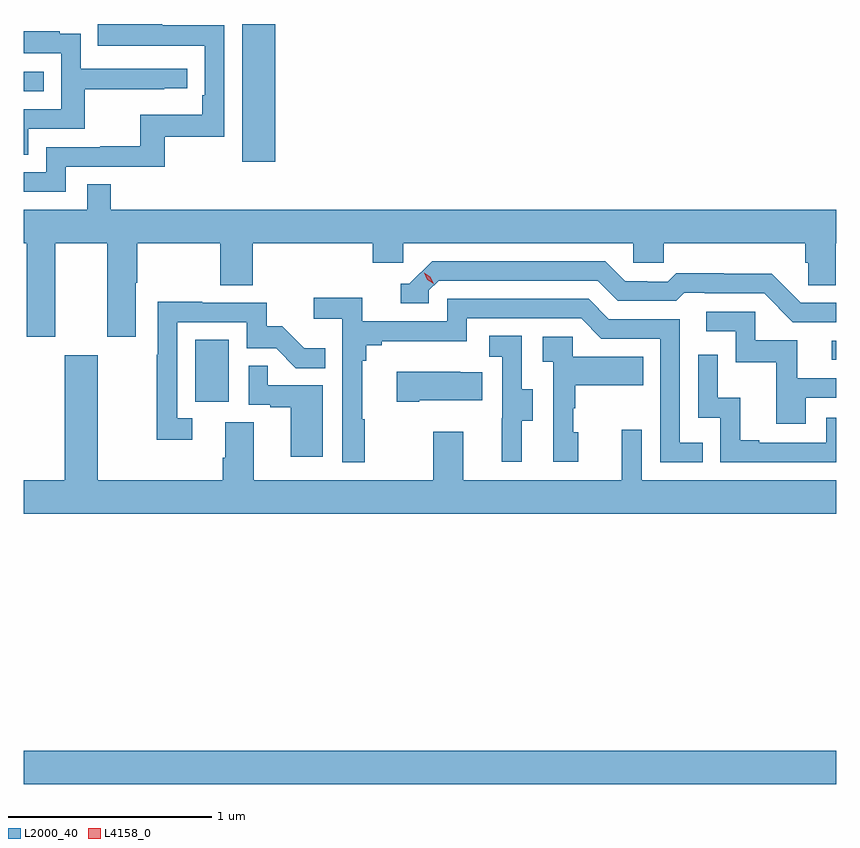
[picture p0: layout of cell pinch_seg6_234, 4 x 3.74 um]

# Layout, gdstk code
import gdstk
lib = gdstk.Library(unit=1e-6, precision=1e-09)
def R(c, l, rs):  # rectangles x0, y0, x1, y1
    for r in rs: c.add(gdstk.rectangle(r[:2], r[2:], *l))
def P(c, l, *ps):  # polygons
    for p in ps: c.add(gdstk.Polygon(p, *l))
L2000_40 = (2000, 40)
L4158_0 = (4158, 0)

pinch_seg6_234 = lib.new_cell('pinch_seg6_234')
R(pinch_seg6_234, L2000_40, [(1088.439,927.356,1092.439,927.52), (1089.284,929.238,1089.448,929.545), (1092.417,929.445,1092.439,929.538), (1089.515,930.42,1089.676,931.099), (1088.439,930.768,1088.537,930.864)])
P(pinch_seg6_234, L2000_40, [(1088.646,930.396),(1089.133,930.396),(1089.133,930.543),(1089.426,930.543),(1089.426,931.094),(1089.121,931.094),(1089.121,931.099),(1088.803,931.099),(1088.803,930.992),(1089.017,930.992),(1089.017,930.993),(1089.33,930.993),(1089.33,930.748),(1089.317,930.748),(1089.317,930.652),(1089.012,930.652),(1089.012,930.497),(1088.815,930.497),(1088.815,930.492),(1088.55,930.492),(1088.55,930.369),(1088.439,930.369),(1088.439,930.273),(1088.646,930.273)],
  [(1088.461,930.582),(1088.738,930.582),(1088.738,930.778),(1089.131,930.778),(1089.131,930.783),(1089.244,930.783),(1089.244,930.879),(1088.718,930.879),(1088.718,931.051),(1088.615,931.051),(1088.615,931.063),(1088.439,931.063),(1088.439,930.954),(1088.622,930.954),(1088.622,930.678),(1088.439,930.678),(1088.439,930.454),(1088.461,930.454)],
  [(1088.593,930.02),(1088.849,930.02),(1088.849,929.559),(1088.989,929.559),(1088.989,929.824),(1088.997,929.824),(1088.997,930.02),(1089.406,930.02),(1089.406,929.812),(1089.566,929.812),(1089.566,930.02),(1090.157,930.02),(1090.157,929.922),(1090.308,929.922),(1090.308,930.02),(1091.439,930.02),(1091.439,929.922),(1091.589,929.922),(1091.589,930.02),(1092.287,930.02),(1092.287,929.922),(1092.301,929.922),(1092.301,929.812),(1092.438,929.812),(1092.438,930.02),(1092.439,930.02),(1092.439,930.184),(1088.867,930.184),(1088.867,930.311),(1088.751,930.311),(1088.751,930.184),(1088.439,930.184),(1088.439,930.02),(1088.453,930.02),(1088.453,929.559),(1088.593,929.559)],
  [(1092.439,929.727),(1092.264,929.727),(1092.122,929.869),(1091.886,929.869),(1091.886,929.872),(1091.653,929.872),(1091.611,929.829),(1091.508,929.829),(1091.508,929.832),(1091.401,929.832),(1091.302,929.931),(1090.449,929.931),(1090.338,929.82),(1090.295,929.82),(1090.295,929.724),(1090.434,929.724),(1090.434,929.787),(1090.482,929.835),(1091.265,929.835),(1091.364,929.736),(1091.653,929.736),(1091.692,929.775),(1091.791,929.775),(1091.791,929.772),(1092.084,929.772),(1092.225,929.631),(1092.439,929.631)],
  [(1090.117,929.153),(1090.105,929.153),(1090.105,929.441),(1090.124,929.441),(1090.124,929.518),(1090.201,929.518),(1090.201,929.537),(1090.62,929.537),(1090.62,929.649),(1091.184,929.649),(1091.283,929.55),(1091.574,929.55),(1091.574,928.941),(1091.783,928.941),(1091.783,929.037),(1091.67,929.037),(1091.67,929.646),(1091.32,929.646),(1091.221,929.745),(1090.524,929.745),(1090.524,929.634),(1090.106,929.634),(1090.106,929.75),(1089.867,929.75),(1089.867,929.648),(1090.008,929.648),(1090.008,928.941),(1090.117,928.941)],
  [(1089.268,929.157),(1089.195,929.157),(1089.195,929.631),(1089.537,929.631),(1089.537,929.502),(1089.681,929.502),(1089.779,929.404),(1089.923,929.404),(1089.923,929.503),(1089.819,929.503),(1089.712,929.61),(1089.636,929.61),(1089.636,929.727),(1089.317,929.727),(1089.317,929.732),(1089.099,929.732),(1089.099,929.471),(1089.094,929.471),(1089.094,929.052),(1089.268,929.052)],
  [(1092.289,929.259),(1092.439,929.259),(1092.439,929.355),(1092.247,929.355),(1092.247,929.541),(1092.042,929.541),(1092.042,929.682),(1091.799,929.682),(1091.799,929.586),(1091.946,929.586),(1091.946,929.433),(1092.145,929.433),(1092.145,929.13),(1092.289,929.13)],
  [(1090.891,929.146),(1090.945,929.146),(1090.945,929.301),(1090.89,929.301),(1090.89,929.564),(1090.731,929.564),(1090.731,929.461),(1090.794,929.461),(1090.794,929.157),(1090.793,929.157),(1090.793,928.944),(1090.891,928.944)],
  [(1091.17,929.088),(1091.145,929.088),(1091.145,929.207),(1091.155,929.207),(1091.155,929.321),(1091.489,929.321),(1091.489,929.461),(1091.142,929.461),(1091.142,929.559),(1090.995,929.559),(1090.995,929.435),(1091.046,929.435),(1091.046,928.944),(1091.17,928.944)],
  [(1092.439,929.16),(1092.39,929.16),(1092.39,929.037),(1092.061,929.037),(1092.061,929.05),(1091.966,929.05),(1091.966,929.258),(1091.856,929.258),(1091.856,929.47),(1091.76,929.47),(1091.76,929.16),(1091.868,929.16),(1091.868,928.941),(1092.439,928.941)],
  [(1092.439,928.852),(1091.481,928.852),(1091.481,929.101),(1091.384,929.101),(1091.384,928.852),(1090.603,928.852),(1090.603,929.092),(1090.456,929.092),(1090.456,928.852),(1089.571,928.852),(1089.571,929.138),(1089.431,929.138),(1089.431,928.964),(1089.419,928.964),(1089.419,928.852),(1088.803,928.852),(1088.803,929.467),(1088.639,929.467),(1088.639,928.852),(1088.439,928.852),(1088.439,928.688),(1092.439,928.688)],
  [(1089.91,929.319),(1089.641,929.319),(1089.641,929.417),(1089.546,929.417),(1089.546,929.223),(1089.653,929.223),(1089.653,929.211),(1089.752,929.211),(1089.752,928.968),(1089.91,928.968)],
  [(1090.387,929.246),(1090.697,929.246),(1090.697,929.383),(1090.589,929.383),(1090.589,929.386),(1090.275,929.386),(1090.275,929.239),(1090.387,929.239)])
P(pinch_seg6_234, L4158_0, [(1090.457,929.82),(1090.426,929.84),(1090.41,929.873),(1090.41,929.873),(1090.411,929.873),(1090.441,929.853),(1090.457,929.82),(1090.457,929.82)])

lib.write_gds('pinch_seg6_234.gds')
